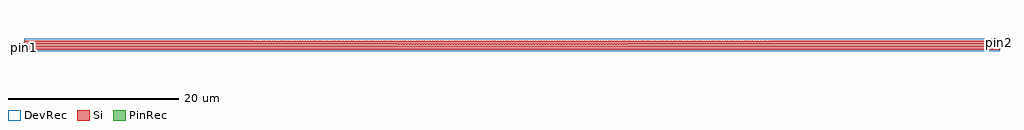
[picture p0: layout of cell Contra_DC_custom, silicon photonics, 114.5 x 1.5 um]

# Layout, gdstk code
import gdstk
lib = gdstk.Library(unit=1e-6, precision=1e-09)
def R(c, l, rs):  # rectangles x0, y0, x1, y1
    for r in rs: c.add(gdstk.rectangle(r[:2], r[2:], *l))
def A(c, l, x, y, w, h, nx, ny, dx, dy):  # array of equal rectangles
    R(c, l, [(x+i*dx, y+j*dy, x+i*dx+w, y+j*dy+h) for i in range(nx) for j in range(ny)])
def P(c, l, *ps):  # polygons
    for p in ps: c.add(gdstk.Polygon(p, *l))
Si = (1, 0)
PinRec = (1, 10)
DevRec = (68, 0)

contra_dc_custom = lib.new_cell('Contra_DC_custom')
A(contra_dc_custom, Si, 44.043, -0.579, 0.159, 0.254, 42, 1, 0.318, 0)
A(contra_dc_custom, Si, 57.717, -0.579, 0.159, 0.254, 42, 1, 0.318, 0)
A(contra_dc_custom, Si, 37.047, -0.578, 0.159, 0.253, 22, 1, 0.318, 0)
A(contra_dc_custom, Si, 71.073, -0.578, 0.159, 0.253, 22, 1, 0.318, 0)
A(contra_dc_custom, Si, 29.733, -0.577, 0.159, 0.252, 23, 1, 0.318, 0)
A(contra_dc_custom, Si, 78.069, -0.577, 0.159, 0.252, 23, 1, 0.318, 0)
A(contra_dc_custom, Si, 20.829, -0.576, 0.159, 0.251, 28, 1, 0.318, 0)
A(contra_dc_custom, Si, 85.383, -0.576, 0.159, 0.251, 28, 1, 0.318, 0)
A(contra_dc_custom, Si, 0.159, -0.575, 0.159, 0.25, 65, 2, 0.318, 0.25)
A(contra_dc_custom, Si, 94.287, -0.575, 0.159, 0.25, 64, 2, 0.318, 0.25)
A(contra_dc_custom, Si, 0, -0.574, 0.159, 0.249, 65, 1, 0.318, 0)
A(contra_dc_custom, Si, 94.128, -0.574, 0.159, 0.249, 64, 1, 0.318, 0)
A(contra_dc_custom, Si, 20.67, -0.573, 0.159, 0.248, 28, 1, 0.318, 0)
A(contra_dc_custom, Si, 85.224, -0.573, 0.159, 0.248, 28, 1, 0.318, 0)
A(contra_dc_custom, Si, 29.574, -0.572, 0.159, 0.247, 23, 1, 0.318, 0)
A(contra_dc_custom, Si, 77.91, -0.572, 0.159, 0.247, 23, 1, 0.318, 0)
A(contra_dc_custom, Si, 36.888, -0.571, 0.159, 0.246, 22, 1, 0.318, 0)
A(contra_dc_custom, Si, 70.914, -0.571, 0.159, 0.246, 22, 1, 0.318, 0)
A(contra_dc_custom, Si, 43.884, -0.57, 0.159, 0.245, 85, 1, 0.318, 0)
A(contra_dc_custom, Si, 0, -0.325, 0.159, 0.251, 65, 1, 0.318, 0)
A(contra_dc_custom, Si, 20.67, -0.325, 0.159, 0.252, 28, 1, 0.318, 0)
A(contra_dc_custom, Si, 20.829, -0.325, 0.159, 0.249, 28, 1, 0.318, 0)
A(contra_dc_custom, Si, 29.574, -0.325, 0.159, 0.253, 23, 1, 0.318, 0)
A(contra_dc_custom, Si, 29.733, -0.325, 0.159, 0.248, 23, 1, 0.318, 0)
A(contra_dc_custom, Si, 36.888, -0.325, 0.159, 0.254, 22, 1, 0.318, 0)
A(contra_dc_custom, Si, 37.047, -0.325, 0.159, 0.247, 22, 1, 0.318, 0)
A(contra_dc_custom, Si, 43.884, -0.325, 0.159, 0.255, 85, 1, 0.318, 0)
A(contra_dc_custom, Si, 44.043, -0.325, 0.159, 0.246, 42, 1, 0.318, 0)
A(contra_dc_custom, Si, 57.717, -0.325, 0.159, 0.246, 42, 1, 0.318, 0)
A(contra_dc_custom, Si, 70.914, -0.325, 0.159, 0.254, 22, 1, 0.318, 0)
A(contra_dc_custom, Si, 71.073, -0.325, 0.159, 0.247, 22, 1, 0.318, 0)
A(contra_dc_custom, Si, 77.91, -0.325, 0.159, 0.253, 23, 1, 0.318, 0)
A(contra_dc_custom, Si, 78.069, -0.325, 0.159, 0.248, 23, 1, 0.318, 0)
A(contra_dc_custom, Si, 85.224, -0.325, 0.159, 0.252, 28, 1, 0.318, 0)
A(contra_dc_custom, Si, 85.383, -0.325, 0.159, 0.249, 28, 1, 0.318, 0)
A(contra_dc_custom, Si, 94.128, -0.325, 0.159, 0.251, 64, 1, 0.318, 0)
A(contra_dc_custom, Si, 50.88, 0.055, 0.159, 0.22, 41, 1, 0.318, 0)
A(contra_dc_custom, Si, 48.018, 0.056, 0.159, 0.219, 9, 1, 0.318, 0)
A(contra_dc_custom, Si, 63.918, 0.056, 0.159, 0.219, 9, 1, 0.318, 0)
A(contra_dc_custom, Si, 45.792, 0.057, 0.159, 0.218, 7, 1, 0.318, 0)
A(contra_dc_custom, Si, 66.78, 0.057, 0.159, 0.218, 7, 1, 0.318, 0)
A(contra_dc_custom, Si, 43.884, 0.058, 0.159, 0.217, 6, 1, 0.318, 0)
A(contra_dc_custom, Si, 69.006, 0.058, 0.159, 0.217, 6, 1, 0.318, 0)
A(contra_dc_custom, Si, 41.976, 0.059, 0.159, 0.216, 6, 1, 0.318, 0)
A(contra_dc_custom, Si, 70.914, 0.059, 0.159, 0.216, 6, 1, 0.318, 0)
A(contra_dc_custom, Si, 40.068, 0.06, 0.159, 0.215, 6, 1, 0.318, 0)
A(contra_dc_custom, Si, 72.822, 0.06, 0.159, 0.215, 6, 1, 0.318, 0)
A(contra_dc_custom, Si, 38.478, 0.061, 0.159, 0.214, 5, 1, 0.318, 0)
A(contra_dc_custom, Si, 74.73, 0.061, 0.159, 0.214, 5, 1, 0.318, 0)
A(contra_dc_custom, Si, 36.888, 0.062, 0.159, 0.213, 5, 1, 0.318, 0)
A(contra_dc_custom, Si, 76.32, 0.062, 0.159, 0.213, 5, 1, 0.318, 0)
A(contra_dc_custom, Si, 34.98, 0.063, 0.159, 0.212, 6, 1, 0.318, 0)
A(contra_dc_custom, Si, 77.91, 0.063, 0.159, 0.212, 6, 1, 0.318, 0)
A(contra_dc_custom, Si, 33.39, 0.064, 0.159, 0.211, 5, 1, 0.318, 0)
A(contra_dc_custom, Si, 79.818, 0.064, 0.159, 0.211, 5, 1, 0.318, 0)
A(contra_dc_custom, Si, 31.482, 0.065, 0.159, 0.21, 6, 1, 0.318, 0)
A(contra_dc_custom, Si, 81.408, 0.065, 0.159, 0.21, 6, 1, 0.318, 0)
A(contra_dc_custom, Si, 29.574, 0.066, 0.159, 0.209, 6, 1, 0.318, 0)
A(contra_dc_custom, Si, 83.316, 0.066, 0.159, 0.209, 6, 1, 0.318, 0)
A(contra_dc_custom, Si, 27.666, 0.067, 0.159, 0.208, 6, 1, 0.318, 0)
A(contra_dc_custom, Si, 85.224, 0.067, 0.159, 0.208, 6, 1, 0.318, 0)
A(contra_dc_custom, Si, 25.758, 0.068, 0.159, 0.207, 6, 1, 0.318, 0)
A(contra_dc_custom, Si, 87.132, 0.068, 0.159, 0.207, 6, 1, 0.318, 0)
A(contra_dc_custom, Si, 23.214, 0.069, 0.159, 0.206, 8, 1, 0.318, 0)
A(contra_dc_custom, Si, 89.04, 0.069, 0.159, 0.206, 8, 1, 0.318, 0)
A(contra_dc_custom, Si, 20.67, 0.07, 0.159, 0.205, 8, 1, 0.318, 0)
A(contra_dc_custom, Si, 91.584, 0.07, 0.159, 0.205, 8, 1, 0.318, 0)
A(contra_dc_custom, Si, 17.49, 0.071, 0.159, 0.204, 10, 1, 0.318, 0)
A(contra_dc_custom, Si, 94.128, 0.071, 0.159, 0.204, 10, 1, 0.318, 0)
A(contra_dc_custom, Si, 13.674, 0.072, 0.159, 0.203, 12, 1, 0.318, 0)
A(contra_dc_custom, Si, 97.308, 0.072, 0.159, 0.203, 12, 1, 0.318, 0)
A(contra_dc_custom, Si, 7.314, 0.073, 0.159, 0.202, 20, 1, 0.318, 0)
A(contra_dc_custom, Si, 101.124, 0.073, 0.159, 0.202, 20, 1, 0.318, 0)
A(contra_dc_custom, Si, 0, 0.074, 0.159, 0.201, 23, 1, 0.318, 0)
A(contra_dc_custom, Si, 107.484, 0.074, 0.159, 0.201, 22, 1, 0.318, 0)
A(contra_dc_custom, Si, 0.159, 0.075, 0.159, 0.2, 23, 1, 0.318, 0)
A(contra_dc_custom, Si, 107.643, 0.075, 0.159, 0.2, 22, 1, 0.318, 0)
A(contra_dc_custom, Si, 7.473, 0.076, 0.159, 0.199, 20, 1, 0.318, 0)
A(contra_dc_custom, Si, 101.283, 0.076, 0.159, 0.199, 20, 1, 0.318, 0)
A(contra_dc_custom, Si, 13.833, 0.077, 0.159, 0.198, 12, 1, 0.318, 0)
A(contra_dc_custom, Si, 97.467, 0.077, 0.159, 0.198, 12, 1, 0.318, 0)
A(contra_dc_custom, Si, 17.649, 0.078, 0.159, 0.197, 10, 1, 0.318, 0)
A(contra_dc_custom, Si, 94.287, 0.078, 0.159, 0.197, 10, 1, 0.318, 0)
A(contra_dc_custom, Si, 20.829, 0.079, 0.159, 0.196, 8, 1, 0.318, 0)
A(contra_dc_custom, Si, 91.743, 0.079, 0.159, 0.196, 8, 1, 0.318, 0)
A(contra_dc_custom, Si, 23.373, 0.08, 0.159, 0.195, 8, 1, 0.318, 0)
A(contra_dc_custom, Si, 89.199, 0.08, 0.159, 0.195, 8, 1, 0.318, 0)
A(contra_dc_custom, Si, 25.917, 0.081, 0.159, 0.194, 6, 1, 0.318, 0)
A(contra_dc_custom, Si, 87.291, 0.081, 0.159, 0.194, 6, 1, 0.318, 0)
A(contra_dc_custom, Si, 27.825, 0.082, 0.159, 0.193, 6, 1, 0.318, 0)
A(contra_dc_custom, Si, 85.383, 0.082, 0.159, 0.193, 6, 1, 0.318, 0)
A(contra_dc_custom, Si, 29.733, 0.083, 0.159, 0.192, 6, 1, 0.318, 0)
A(contra_dc_custom, Si, 83.475, 0.083, 0.159, 0.192, 6, 1, 0.318, 0)
A(contra_dc_custom, Si, 31.641, 0.084, 0.159, 0.191, 6, 1, 0.318, 0)
A(contra_dc_custom, Si, 81.567, 0.084, 0.159, 0.191, 6, 1, 0.318, 0)
A(contra_dc_custom, Si, 33.549, 0.085, 0.159, 0.19, 5, 1, 0.318, 0)
A(contra_dc_custom, Si, 79.977, 0.085, 0.159, 0.19, 5, 1, 0.318, 0)
A(contra_dc_custom, Si, 35.139, 0.086, 0.159, 0.189, 6, 1, 0.318, 0)
A(contra_dc_custom, Si, 78.069, 0.086, 0.159, 0.189, 6, 1, 0.318, 0)
A(contra_dc_custom, Si, 37.047, 0.087, 0.159, 0.188, 5, 1, 0.318, 0)
A(contra_dc_custom, Si, 76.479, 0.087, 0.159, 0.188, 5, 1, 0.318, 0)
A(contra_dc_custom, Si, 38.637, 0.088, 0.159, 0.187, 5, 1, 0.318, 0)
A(contra_dc_custom, Si, 74.889, 0.088, 0.159, 0.187, 5, 1, 0.318, 0)
A(contra_dc_custom, Si, 40.227, 0.089, 0.159, 0.186, 6, 1, 0.318, 0)
A(contra_dc_custom, Si, 72.981, 0.089, 0.159, 0.186, 6, 1, 0.318, 0)
A(contra_dc_custom, Si, 42.135, 0.09, 0.159, 0.185, 6, 1, 0.318, 0)
A(contra_dc_custom, Si, 71.073, 0.09, 0.159, 0.185, 6, 1, 0.318, 0)
A(contra_dc_custom, Si, 44.043, 0.091, 0.159, 0.184, 6, 1, 0.318, 0)
A(contra_dc_custom, Si, 69.165, 0.091, 0.159, 0.184, 6, 1, 0.318, 0)
A(contra_dc_custom, Si, 45.951, 0.092, 0.159, 0.183, 7, 1, 0.318, 0)
A(contra_dc_custom, Si, 66.939, 0.092, 0.159, 0.183, 7, 1, 0.318, 0)
A(contra_dc_custom, Si, 48.177, 0.093, 0.159, 0.182, 9, 1, 0.318, 0)
A(contra_dc_custom, Si, 64.077, 0.093, 0.159, 0.182, 9, 1, 0.318, 0)
A(contra_dc_custom, Si, 51.039, 0.094, 0.159, 0.181, 20, 1, 0.318, 0)
A(contra_dc_custom, Si, 57.717, 0.094, 0.159, 0.181, 20, 1, 0.318, 0)
A(contra_dc_custom, Si, 0, 0.275, 0.159, 0.199, 31, 1, 0.318, 0)
A(contra_dc_custom, Si, 0.159, 0.275, 0.159, 0.2, 31, 1, 0.318, 0)
A(contra_dc_custom, Si, 9.858, 0.275, 0.159, 0.198, 20, 1, 0.318, 0)
A(contra_dc_custom, Si, 10.017, 0.275, 0.159, 0.201, 20, 1, 0.318, 0)
A(contra_dc_custom, Si, 16.218, 0.275, 0.159, 0.197, 14, 1, 0.318, 0)
A(contra_dc_custom, Si, 16.377, 0.275, 0.159, 0.202, 14, 1, 0.318, 0)
A(contra_dc_custom, Si, 20.67, 0.275, 0.159, 0.196, 11, 1, 0.318, 0)
A(contra_dc_custom, Si, 20.829, 0.275, 0.159, 0.203, 11, 1, 0.318, 0)
A(contra_dc_custom, Si, 24.168, 0.275, 0.159, 0.195, 9, 1, 0.318, 0)
A(contra_dc_custom, Si, 24.327, 0.275, 0.159, 0.204, 9, 1, 0.318, 0)
A(contra_dc_custom, Si, 27.03, 0.275, 0.159, 0.194, 8, 1, 0.318, 0)
A(contra_dc_custom, Si, 27.189, 0.275, 0.159, 0.205, 8, 1, 0.318, 0)
A(contra_dc_custom, Si, 29.574, 0.275, 0.159, 0.193, 8, 1, 0.318, 0)
A(contra_dc_custom, Si, 29.733, 0.275, 0.159, 0.206, 8, 1, 0.318, 0)
A(contra_dc_custom, Si, 32.118, 0.275, 0.159, 0.192, 7, 1, 0.318, 0)
A(contra_dc_custom, Si, 32.277, 0.275, 0.159, 0.207, 7, 1, 0.318, 0)
A(contra_dc_custom, Si, 34.344, 0.275, 0.159, 0.191, 8, 1, 0.318, 0)
A(contra_dc_custom, Si, 34.503, 0.275, 0.159, 0.208, 8, 1, 0.318, 0)
A(contra_dc_custom, Si, 36.888, 0.275, 0.159, 0.19, 7, 1, 0.318, 0)
A(contra_dc_custom, Si, 37.047, 0.275, 0.159, 0.209, 7, 1, 0.318, 0)
A(contra_dc_custom, Si, 39.114, 0.275, 0.159, 0.189, 7, 1, 0.318, 0)
A(contra_dc_custom, Si, 39.273, 0.275, 0.159, 0.21, 7, 1, 0.318, 0)
A(contra_dc_custom, Si, 41.34, 0.275, 0.159, 0.188, 8, 1, 0.318, 0)
A(contra_dc_custom, Si, 41.499, 0.275, 0.159, 0.211, 8, 1, 0.318, 0)
A(contra_dc_custom, Si, 43.884, 0.275, 0.159, 0.187, 8, 1, 0.318, 0)
A(contra_dc_custom, Si, 44.043, 0.275, 0.159, 0.212, 8, 1, 0.318, 0)
A(contra_dc_custom, Si, 46.428, 0.275, 0.159, 0.186, 11, 1, 0.318, 0)
A(contra_dc_custom, Si, 46.587, 0.275, 0.159, 0.213, 11, 1, 0.318, 0)
A(contra_dc_custom, Si, 49.926, 0.275, 0.159, 0.185, 47, 1, 0.318, 0)
A(contra_dc_custom, Si, 50.085, 0.275, 0.159, 0.214, 23, 1, 0.318, 0)
A(contra_dc_custom, Si, 57.717, 0.275, 0.159, 0.214, 23, 1, 0.318, 0)
A(contra_dc_custom, Si, 64.872, 0.275, 0.159, 0.186, 11, 1, 0.318, 0)
A(contra_dc_custom, Si, 65.031, 0.275, 0.159, 0.213, 11, 1, 0.318, 0)
A(contra_dc_custom, Si, 68.37, 0.275, 0.159, 0.187, 8, 1, 0.318, 0)
A(contra_dc_custom, Si, 68.529, 0.275, 0.159, 0.212, 8, 1, 0.318, 0)
A(contra_dc_custom, Si, 70.914, 0.275, 0.159, 0.188, 8, 1, 0.318, 0)
A(contra_dc_custom, Si, 71.073, 0.275, 0.159, 0.211, 8, 1, 0.318, 0)
A(contra_dc_custom, Si, 73.458, 0.275, 0.159, 0.189, 7, 1, 0.318, 0)
A(contra_dc_custom, Si, 73.617, 0.275, 0.159, 0.21, 7, 1, 0.318, 0)
A(contra_dc_custom, Si, 75.684, 0.275, 0.159, 0.19, 7, 1, 0.318, 0)
A(contra_dc_custom, Si, 75.843, 0.275, 0.159, 0.209, 7, 1, 0.318, 0)
A(contra_dc_custom, Si, 77.91, 0.275, 0.159, 0.191, 8, 1, 0.318, 0)
A(contra_dc_custom, Si, 78.069, 0.275, 0.159, 0.208, 8, 1, 0.318, 0)
A(contra_dc_custom, Si, 80.454, 0.275, 0.159, 0.192, 7, 1, 0.318, 0)
A(contra_dc_custom, Si, 80.613, 0.275, 0.159, 0.207, 7, 1, 0.318, 0)
A(contra_dc_custom, Si, 82.68, 0.275, 0.159, 0.193, 8, 1, 0.318, 0)
A(contra_dc_custom, Si, 82.839, 0.275, 0.159, 0.206, 8, 1, 0.318, 0)
A(contra_dc_custom, Si, 85.224, 0.275, 0.159, 0.194, 8, 1, 0.318, 0)
A(contra_dc_custom, Si, 85.383, 0.275, 0.159, 0.205, 8, 1, 0.318, 0)
A(contra_dc_custom, Si, 87.768, 0.275, 0.159, 0.195, 9, 1, 0.318, 0)
A(contra_dc_custom, Si, 87.927, 0.275, 0.159, 0.204, 9, 1, 0.318, 0)
A(contra_dc_custom, Si, 90.63, 0.275, 0.159, 0.196, 11, 1, 0.318, 0)
A(contra_dc_custom, Si, 90.789, 0.275, 0.159, 0.203, 11, 1, 0.318, 0)
A(contra_dc_custom, Si, 94.128, 0.275, 0.159, 0.197, 14, 1, 0.318, 0)
A(contra_dc_custom, Si, 94.287, 0.275, 0.159, 0.202, 14, 1, 0.318, 0)
A(contra_dc_custom, Si, 98.58, 0.275, 0.159, 0.198, 20, 1, 0.318, 0)
A(contra_dc_custom, Si, 98.739, 0.275, 0.159, 0.201, 20, 1, 0.318, 0)
A(contra_dc_custom, Si, 104.94, 0.275, 0.159, 0.199, 30, 1, 0.318, 0)
A(contra_dc_custom, Si, 105.099, 0.275, 0.159, 0.2, 30, 1, 0.318, 0)
R(contra_dc_custom, Si, [(57.399,-0.58,57.558,-0.325), (57.399,-0.325,57.558,-0.08), (57.399,0.095,57.558,0.275), (57.399,0.275,57.558,0.49)])
P(contra_dc_custom, Si, [(114.48,0.275),(114.48,0.475),(114.48,0.475),(114.48,0.275)],
  [(114.48,-0.575),(114.48,-0.325),(114.48,-0.325),(114.48,-0.575)])
R(contra_dc_custom, DevRec, [(0,-0.75,114.48,0.75)])
contra_dc_custom.add(gdstk.FlexPath([(0.01,-0.325),(-0.01,-0.325)], 0.5, ends="flush", simple_path=True, layer=1, datatype=10))  # PinRec
contra_dc_custom.add(gdstk.FlexPath([(0.01,0.275),(-0.01,0.275)], 0.4, ends="flush", simple_path=True, layer=1, datatype=10))  # PinRec
contra_dc_custom.add(gdstk.FlexPath([(114.47,0.275),(114.49,0.275)], 0.4, ends="flush", simple_path=True, layer=1, datatype=10))  # PinRec
contra_dc_custom.add(gdstk.FlexPath([(114.47,-0.325),(114.49,-0.325)], 0.5, ends="flush", simple_path=True, layer=1, datatype=10))  # PinRec
contra_dc_custom.add(gdstk.Label('pin1', (0,-0.325), layer=1, texttype=10))
contra_dc_custom.add(gdstk.Label('pin3', (0,0.275), layer=1, texttype=10))
contra_dc_custom.add(gdstk.Label('pin2', (114.48,0.275), layer=1, texttype=10))
contra_dc_custom.add(gdstk.Label('pin4', (114.48,-0.325), layer=1, texttype=10))
contra_dc_custom.add(gdstk.Label('Lumerical_INTERCONNECT_library=Design kits/ebeam', (0,0), layer=68, texttype=0))
contra_dc_custom.add(gdstk.Label('Component=ebeam_contra_dc', (11.448,0), layer=68, texttype=0))
contra_dc_custom.add(gdstk.Label('Spice_param:number_of_periods=360', (12.72,0), layer=68, texttype=0))

lib.write_gds('Contra_DC_custom.gds')
